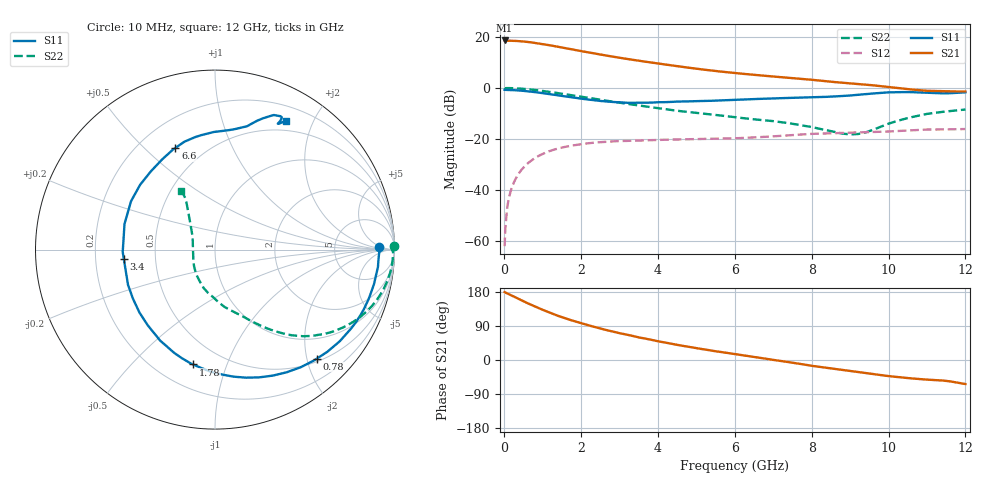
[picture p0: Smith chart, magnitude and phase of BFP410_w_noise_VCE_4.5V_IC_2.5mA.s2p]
! Infineon Technologies  Discrete & RF Semiconductors
! BFP410
! VCE =  4.5 V,  IC =  2.5 mA
! Common Emitter S-Parameters:  Nov 2015
# GHz  S  MA  R  50
!  f  S11  S21  S12  S22
! GHz  MAG  ANG  MAG  ANG  MAG  ANG  MAG  ANG
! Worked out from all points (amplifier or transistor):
!   243 points, 10 MHz to 12 GHz, reference 50 ohm
!   highest |S21| = 18.6 dB at 10 MHz (marker M1)
!   |S21| within 3 dB of that: start of sweep to 1.589 GHz
!   unconditionally stable (mu >= 1): 3.889 GHz to end of sweep
!   at 240 MHz: K = 0.11, MSG = 27.9 dB, |S12| = -37.4 dB
!   at 1.84 GHz: K = 0.42, MSG = 18.6 dB, |S12| = -22.4 dB
!   at 12 GHz: K = 1.11, MAG = 5.3 dB, |S12| = -16.1 dB
!   lowest NFmin = 0.84 dB at 900 MHz
!   S11 on the Smith chart (normalised r, x): 10 MHz: 22, +4; 780 MHz: 0.56, -2.19; 1.78 GHz: 0.34, -0.77; 3.4 GHz: 0.32, -0.04; 6.6 GHz: 0.35, +0.63; 12 GHz: 0.37, +1.63
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0.01  0.9165 0.8  8.478 179.2  0.0008 0.1  0.9979 1.3
0.03  0.915 -1.1  8.385 178.2  0.0018 60.0  0.9877 -0.1
0.07  0.9125 -4.0  8.371 176.1  0.004 74.0  0.9922 -1.6
0.185  0.9069 -11.2  8.364 170.6  0.0105 79.5  0.9888 -5.2
0.45  0.8835 -27.2  8.151 157.6  0.025 74.0  0.9661 -12.9
0.6  0.8625 -36.3  7.938 150.2  0.0328 69.7  0.9458 -17.1
0.78  0.8312 -46.9  7.623 142.0  0.0415 64.7  0.9155 -21.7
1  0.7916 -59.7  7.207 132.4  0.0511 58.8  0.873 -27.1
1.2  0.7533 -70.9  6.802 124.2  0.0588 53.6  0.8321 -31.6
1.5  0.6973 -86.7  6.175 113.1  0.0681 46.6  0.7706 -37.5
1.78  0.6513 -100.9  5.634 103.8  0.0749 40.9  0.7165 -42.2
2.02  0.6154 -112.4  5.219 96.5  0.0797 36.6  0.6727 -45.7
2.64  0.5437 -142.0  4.319 79.5  0.0882 27.0  0.5652 -53.5
3.4  0.5108 -174.4  3.491 62.2  0.0932 18.8  0.4643 -61.5
4.1  0.5247 161.2  2.934 47.7  0.0965 13.7  0.3922 -68.8
5  0.552 139.0  2.373 31.1  0.0997 8.7  0.3241 -80.5
6.1  0.5858 118.9  1.922 14.1  0.1041 5.4  0.2616 -93.2
6.6  0.6082 111.3  1.775 6.5  0.1084 4.1  0.2387 -100.9
8.2  0.6611 87.0  1.391 -18.0  0.1273 -4.1  0.1587 -134.6
9.2  0.733 73.6  1.192 -31.4  0.1335 -9.7  0.1249 170.8
10.2  0.823 65.1  1.002 -44.5  0.1429 -14.1  0.2222 129.7
12  0.8191 61.1  0.849 -63.4  0.1567 -27.8  0.3776 120.4
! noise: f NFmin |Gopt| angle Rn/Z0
0.45  0.88  0.45  7  0.25
0.9  0.84  0.43  20  0.24
1.8  1.06  0.33  53  0.2
2.4  1.09  0.33  62  0.18
5.5  2.15  0.34  -141  0.2
10  3.77  0.69  -55  2.12
